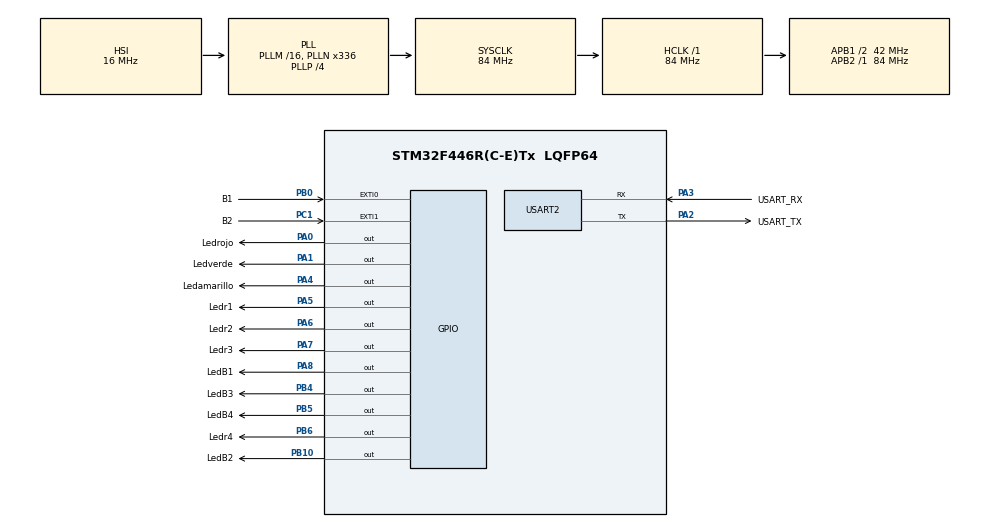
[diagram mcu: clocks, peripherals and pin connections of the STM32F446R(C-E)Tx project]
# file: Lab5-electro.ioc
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Mcu.Family=STM32F4
Mcu.Name=STM32F446R(C-E)Tx
Mcu.Package=LQFP64
NVIC.EXTI0_IRQn=true\:0\:0\:false\:false\:true\:true\:true\:true
NVIC.EXTI1_IRQn=true\:0\:0\:false\:false\:true\:true\:true\:true
NVIC.PriorityGroup=NVIC_PRIORITYGROUP_0
PA0-WKUP.GPIO_Label=Ledrojo
PA0-WKUP.Signal=GPIO_Output
PA1.GPIO_Label=Ledverde
PA1.Signal=GPIO_Output
PA13.GPIO_Label=TMS
PA13.Signal=SYS_JTMS-SWDIO
PA14.GPIO_Label=TCK
PA14.Signal=SYS_JTCK-SWCLK
PA2.GPIO_Label=USART_TX
PA2.Mode=Asynchronous
PA2.Signal=USART2_TX
PA3.GPIO_Label=USART_RX
PA3.Mode=Asynchronous
PA3.Signal=USART2_RX
PA4.GPIO_Label=Ledamarillo 
PA4.Signal=GPIO_Output
PA5.GPIO_Label=Ledr1
PA5.Signal=GPIO_Output
PA6.GPIO_Label=Ledr2
PA6.Signal=GPIO_Output
PA7.GPIO_Label=Ledr3
PA7.Signal=GPIO_Output
PA8.GPIO_Label=LedB1
PA8.Signal=GPIO_Output
PB0.GPIO_Label=B1
PB0.Signal=GPXTI0
PB10.GPIO_Label=LedB2
PB10.Signal=GPIO_Output
PB3.GPIO_Label=SWO
PB3.Signal=SYS_JTDO-SWO
PB4.GPIO_Label=LedB3
PB4.Signal=GPIO_Output
PB5.GPIO_Label=LedB4
PB5.Signal=GPIO_Output
PB6.GPIO_Label=Ledr4
PB6.Signal=GPIO_Output
PC1.GPIO_Label=B2
PC1.Signal=GPXTI1
PC14-OSC32_IN.Signal=RCC_OSC32_IN
PC15-OSC32_OUT.Signal=RCC_OSC32_OUT
PH0-OSC_IN.Signal=RCC_OSC_IN
PH1-OSC_OUT.Signal=RCC_OSC_OUT
ProjectManager.HeapSize=0x200
ProjectManager.StackSize=0x400
ProjectManager.TargetToolchain=STM32CubeIDE
RCC.AHBFreq_Value=84000000
RCC.APB1CLKDivider=RCC_HCLK_DIV2
RCC.APB1Freq_Value=42000000
RCC.APB1TimFreq_Value=84000000
RCC.APB2Freq_Value=84000000
RCC.APB2TimFreq_Value=84000000
RCC.CortexFreq_Value=84000000
RCC.FLatency-AdvancedSettings=FLASH_LATENCY_2
RCC.HCLKFreq_Value=84000000
RCC.HSE_VALUE=8000000
RCC.HSI_VALUE=16000000
RCC.LSE_VALUE=32768
RCC.PLLN=336
RCC.PLLP=RCC_PLLP_DIV4
RCC.SYSCLKFreq_VALUE=84000000
RCC.SYSCLKSource=RCC_SYSCLKSOURCE_PLLCLK
RCC.USBFreq_Value=168000000
RCC.VCOOutputFreq_Value=336000000
USART2.VirtualMode=VM_ASYNC
board=NUCLEO-F446RE

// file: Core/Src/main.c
/* USER CODE BEGIN Header */
//*******************************************************************************//
// Universidad del Valle de Guatemala
// Laboratorio 5 - Electronica Digital 2
//  Juego de carreras
// Camila Tello 24404
//*******************************************************************************//
/* USER CODE END Header */

#include "main.h"

UART_HandleTypeDef huart2;

/* USER CODE BEGIN PV */

//*********************************************************************//
// VARIABLES DE LOS JUGADORES
//*********************************************************************//

// Posicion actual de cada jugador
volatile uint8_t contadorRojo = 0;
volatile uint8_t contadorAzul = 0;

// Guardan el tiempo de la ultima pulsacion para evitar rebotes
uint32_t tiempoBotonRojo = 0;
uint32_t tiempoBotonAzul = 0;

//*********************************************************************//
// VARIABLES PARA CONTROLAR EL JUEGO
//*********************************************************************//

// 0 = juego bloqueado y 1 = juego habilitado
volatile uint8_t juegoIniciado = 0;

// Indica que se debe realizar la secuencia del semaforo
volatile uint8_t iniciarSemaforo = 0;

// Evita iniciar dos secuencias al mismo tiempo
volatile uint8_t semaforoActivo = 0;

//*********************************************************************//
// VARIABLES PARA UART Y GANADOR
//*********************************************************************//

// Guarda el caracter recibido desde la computadora
uint8_t datoUART = 0;

// 0 = sin ganador, 1 = jugador rojo y 2 = jugador azul
volatile uint8_t ganador = 0;

// Indica que falta enviar el mensaje del ganador
volatile uint8_t enviarGanador = 0;

/* USER CODE END PV */

void SystemClock_Config(void);
static void MX_GPIO_Init(void);
static void MX_USART2_UART_Init(void);
/* USER CODE BEGIN PFP */

// Funciones para mostrar la posicion de los jugadores
void mostrarJugadorRojo(uint8_t posicion);
void mostrarJugadorAzul(uint8_t posicion);

// Funcion para realizar la secuencia del semaforo
void secuenciaSemaforo(void);

/* USER CODE END PFP */

int main(void)
{

  /* MCU Configuration--------------------------------------------------------*/

  /* Reset of all peripherals, Initializes the Flash interface and the Systick. */
  HAL_Init();

  /* Configure the system clock */
  SystemClock_Config();

  /* Initialize all configured peripherals */
  MX_GPIO_Init();
  MX_USART2_UART_Init();

  /* USER CODE BEGIN 2 */

  //*********************************************************************//
  // ESTADO INICIAL DEL PROGRAMA
  //*********************************************************************//

  // Apagar los tres LEDs del semaforo antes de comenzar
  HAL_GPIO_WritePin(Ledrojo_GPIO_Port, Ledrojo_Pin, 0);
  HAL_GPIO_WritePin(Ledamarillo_GPIO_Port, Ledamarillo_Pin, 0);
  HAL_GPIO_WritePin(Ledverde_GPIO_Port, Ledverde_Pin, 0);

  // Colocar a los dos jugadores en la posicion inicial
  mostrarJugadorRojo(contadorRojo);
  mostrarJugadorAzul(contadorAzul);

  // El juego permanece bloqueado hasta recibir la letra S
  juegoIniciado = 0;

  // Mensaje para comprobar que la comunicacion funciona
  uint8_t mensajeInicio[] = "\r\nUART lista. Envie S\r\n";

  HAL_UART_Transmit(&huart2,
                    mensajeInicio,
                    sizeof(mensajeInicio) - 1,
                    HAL_MAX_DELAY);

  /* USER CODE END 2 */

  /* Infinite loop */
  while (1)
  {

    /* USER CODE BEGIN 3 */

    //-------------------------------------------------------------------//
    // REVISAR SI SE RECIBIO UN CARACTER POR UART
    //-------------------------------------------------------------------//

    // Se usa un tiempo corto para no detener el funcionamiento del juego
    if (HAL_UART_Receive(&huart2, &datoUART, 1, 10) == HAL_OK)
    {
      // La letra S permite iniciar una carrera nueva
      if ((datoUART == 'S') &&
          (juegoIniciado == 0) &&
          (semaforoActivo == 0) &&
          (enviarGanador == 0))
      {
        // Levantar las banderas para comenzar el semaforo
        semaforoActivo = 1;
        iniciarSemaforo = 1;
      }

      // Limpiar la variable para recibir otro caracter
      datoUART = 0;
    }

    //-------------------------------------------------------------------//
    // ENVIAR EL MENSAJE DEL GANADOR
    //-------------------------------------------------------------------//

    if (enviarGanador == 1)
    {
      if (ganador == 1)
      {
        uint8_t mensajeRojo[] = "El ganador es el jugador rojo!\r\n";

        HAL_UART_Transmit(&huart2,
                          mensajeRojo,
                          sizeof(mensajeRojo) - 1,
                          HAL_MAX_DELAY);
      }
      else if (ganador == 2)
      {
        uint8_t mensajeAzul[] = "El ganador es el jugador azul!\r\n";

        HAL_UART_Transmit(&huart2,
                          mensajeAzul,
                          sizeof(mensajeAzul) - 1,
                          HAL_MAX_DELAY);
      }

      // El mensaje ya fue enviado
      enviarGanador = 0;
    }

    //-------------------------------------------------------------------//
    // INICIAR UNA CARRERA NUEVA
    //-------------------------------------------------------------------//

    if (iniciarSemaforo == 1)
    {
      // Bajar la bandera para ejecutar la secuencia una sola vez
      iniciarSemaforo = 0;

      // Bloquear los botones durante el semaforo
      juegoIniciado = 0;

      // Reiniciar la posicion de los dos jugadores
      contadorRojo = 0;
      contadorAzul = 0;
      ganador = 0;

      mostrarJugadorRojo(contadorRojo);
      mostrarJugadorAzul(contadorAzul);

      // Avisar que la letra S fue recibida
      uint8_t mensajeRecibido[] = "S recibida\r\n";

      HAL_UART_Transmit(&huart2,
                        mensajeRecibido,
                        sizeof(mensajeRecibido) - 1,
                        HAL_MAX_DELAY);

      // Realizar la secuencia rojo, amarillo y verde
      secuenciaSemaforo();

      // Avisar que los jugadores ya pueden comenzar
      uint8_t mensajeListo[] = "Inicia el juego!\r\n";

      HAL_UART_Transmit(&huart2,
                        mensajeListo,
                        sizeof(mensajeListo) - 1,
                        HAL_MAX_DELAY);
    }

  }
  /* USER CODE END 3 */
}

void SystemClock_Config(void)
{
  RCC_OscInitTypeDef RCC_OscInitStruct = {0};
  RCC_ClkInitTypeDef RCC_ClkInitStruct = {0};

  /** Configure the main internal regulator output voltage
  */
  __HAL_RCC_PWR_CLK_ENABLE();
  __HAL_PWR_VOLTAGESCALING_CONFIG(PWR_REGULATOR_VOLTAGE_SCALE3);

  /** Initializes the RCC Oscillators according to the specified parameters
  * in the RCC_OscInitTypeDef structure.
  */
  RCC_OscInitStruct.OscillatorType = RCC_OSCILLATORTYPE_HSI;
  RCC_OscInitStruct.HSIState = RCC_HSI_ON;
  RCC_OscInitStruct.HSICalibrationValue = RCC_HSICALIBRATION_DEFAULT;
  RCC_OscInitStruct.PLL.PLLState = RCC_PLL_ON;
  RCC_OscInitStruct.PLL.PLLSource = RCC_PLLSOURCE_HSI;
  RCC_OscInitStruct.PLL.PLLM = 16;
  RCC_OscInitStruct.PLL.PLLN = 336;
  RCC_OscInitStruct.PLL.PLLP = RCC_PLLP_DIV4;
  RCC_OscInitStruct.PLL.PLLQ = 2;
  RCC_OscInitStruct.PLL.PLLR = 2;
  if (HAL_RCC_OscConfig(&RCC_OscInitStruct) != HAL_OK)
  {
    Error_Handler();
  }

  /** Initializes the CPU, AHB and APB buses clocks
  */
  RCC_ClkInitStruct.ClockType = RCC_CLOCKTYPE_HCLK|RCC_CLOCKTYPE_SYSCLK
                              |RCC_CLOCKTYPE_PCLK1|RCC_CLOCKTYPE_PCLK2;
  RCC_ClkInitStruct.SYSCLKSource = RCC_SYSCLKSOURCE_PLLCLK;
  RCC_ClkInitStruct.AHBCLKDivider = RCC_SYSCLK_DIV1;
  RCC_ClkInitStruct.APB1CLKDivider = RCC_HCLK_DIV2;
  RCC_ClkInitStruct.APB2CLKDivider = RCC_HCLK_DIV1;

  if (HAL_RCC_ClockConfig(&RCC_ClkInitStruct, FLASH_LATENCY_2) != HAL_OK)
  {
    Error_Handler();
  }
}

static void MX_USART2_UART_Init(void)
{

  huart2.Instance = USART2;
  huart2.Init.BaudRate = 115200;
  huart2.Init.WordLength = UART_WORDLENGTH_8B;
  huart2.Init.StopBits = UART_STOPBITS_1;
  huart2.Init.Parity = UART_PARITY_NONE;
  huart2.Init.Mode = UART_MODE_TX_RX;
  huart2.Init.HwFlowCtl = UART_HWCONTROL_NONE;
  huart2.Init.OverSampling = UART_OVERSAMPLING_16;
  if (HAL_UART_Init(&huart2) != HAL_OK)
  {
    Error_Handler();
  }

}

static void MX_GPIO_Init(void)
{
  GPIO_InitTypeDef GPIO_InitStruct = {0};

  /* GPIO Ports Clock Enable */
  __HAL_RCC_GPIOC_CLK_ENABLE();
  __HAL_RCC_GPIOH_CLK_ENABLE();
  __HAL_RCC_GPIOA_CLK_ENABLE();
  __HAL_RCC_GPIOB_CLK_ENABLE();

  /*Configure GPIO pin Output Level */
  HAL_GPIO_WritePin(GPIOA, Ledrojo_Pin|Ledverde_Pin|Ledamarillo_Pin|Ledr1_Pin
                          |Ledr2_Pin|Ledr3_Pin|LedB1_Pin, GPIO_PIN_RESET);

  /*Configure GPIO pin Output Level */
  HAL_GPIO_WritePin(GPIOB, LedB2_Pin|LedB3_Pin|LedB4_Pin|Ledr4_Pin, GPIO_PIN_RESET);

  /*Configure GPIO pin : B2_Pin */
  GPIO_InitStruct.Pin = B2_Pin;
  GPIO_InitStruct.Mode = GPIO_MODE_IT_RISING;
  GPIO_InitStruct.Pull = GPIO_NOPULL;
  HAL_GPIO_Init(B2_GPIO_Port, &GPIO_InitStruct);

  /*Configure GPIO pins : Ledrojo_Pin Ledverde_Pin Ledamarillo_Pin Ledr1_Pin
                           Ledr2_Pin Ledr3_Pin LedB1_Pin */
  GPIO_InitStruct.Pin = Ledrojo_Pin|Ledverde_Pin|Ledamarillo_Pin|Ledr1_Pin
                          |Ledr2_Pin|Ledr3_Pin|LedB1_Pin;
  GPIO_InitStruct.Mode = GPIO_MODE_OUTPUT_PP;
  GPIO_InitStruct.Pull = GPIO_NOPULL;
  GPIO_InitStruct.Speed = GPIO_SPEED_FREQ_LOW;
  HAL_GPIO_Init(GPIOA, &GPIO_InitStruct);

  /*Configure GPIO pin : B1_Pin */
  GPIO_InitStruct.Pin = B1_Pin;
  GPIO_InitStruct.Mode = GPIO_MODE_IT_RISING;
  GPIO_InitStruct.Pull = GPIO_NOPULL;
  HAL_GPIO_Init(B1_GPIO_Port, &GPIO_InitStruct);

  /*Configure GPIO pins : LedB2_Pin LedB3_Pin LedB4_Pin Ledr4_Pin */
  GPIO_InitStruct.Pin = LedB2_Pin|LedB3_Pin|LedB4_Pin|Ledr4_Pin;
  GPIO_InitStruct.Mode = GPIO_MODE_OUTPUT_PP;
  GPIO_InitStruct.Pull = GPIO_NOPULL;
  GPIO_InitStruct.Speed = GPIO_SPEED_FREQ_LOW;
  HAL_GPIO_Init(GPIOB, &GPIO_InitStruct);

  /* EXTI interrupt init*/
  HAL_NVIC_SetPriority(EXTI0_IRQn, 0, 0);
  HAL_NVIC_EnableIRQ(EXTI0_IRQn);

  HAL_NVIC_SetPriority(EXTI1_IRQn, 0, 0);
  HAL_NVIC_EnableIRQ(EXTI1_IRQn);

}

/* USER CODE BEGIN 4 */

//*********************************************************************//
// FUNCION PARA MOSTRAR AL JUGADOR ROJO
//*********************************************************************//

void mostrarJugadorRojo(uint8_t posicion)
{
  // Apagar primero los cuatro LEDs del jugador rojo
  HAL_GPIO_WritePin(Ledr1_GPIO_Port, Ledr1_Pin, 0);
  HAL_GPIO_WritePin(Ledr2_GPIO_Port, Ledr2_Pin, 0);
  HAL_GPIO_WritePin(Ledr3_GPIO_Port, Ledr3_Pin, 0);
  HAL_GPIO_WritePin(Ledr4_GPIO_Port, Ledr4_Pin, 0);

  // Encender solamente el LED de la posicion actual
  switch (posicion)
  {
    case 1:
      HAL_GPIO_WritePin(Ledr1_GPIO_Port, Ledr1_Pin, 1);
      break;

    case 2:
      HAL_GPIO_WritePin(Ledr2_GPIO_Port, Ledr2_Pin, 1);
      break;

    case 3:
      HAL_GPIO_WritePin(Ledr3_GPIO_Port, Ledr3_Pin, 1);
      break;

    case 4:
      HAL_GPIO_WritePin(Ledr4_GPIO_Port, Ledr4_Pin, 1);
      break;

    default:
      // En la posicion 0 todos permanecen apagados
      break;
  }
}

//*********************************************************************//
// FUNCION PARA MOSTRAR AL JUGADOR AZUL
//*********************************************************************//

void mostrarJugadorAzul(uint8_t posicion)
{
  // Apagar primero los cuatro LEDs del jugador azul
  HAL_GPIO_WritePin(LedB1_GPIO_Port, LedB1_Pin, 0);
  HAL_GPIO_WritePin(LedB2_GPIO_Port, LedB2_Pin, 0);
  HAL_GPIO_WritePin(LedB3_GPIO_Port, LedB3_Pin, 0);
  HAL_GPIO_WritePin(LedB4_GPIO_Port, LedB4_Pin, 0);

  // Encender solamente el LED de la posicion actual
  switch (posicion)
  {
    case 1:
      HAL_GPIO_WritePin(LedB1_GPIO_Port, LedB1_Pin, 1);
      break;

    case 2:
      HAL_GPIO_WritePin(LedB2_GPIO_Port, LedB2_Pin, 1);
      break;

    case 3:
      HAL_GPIO_WritePin(LedB3_GPIO_Port, LedB3_Pin, 1);
      break;

    case 4:
      HAL_GPIO_WritePin(LedB4_GPIO_Port, LedB4_Pin, 1);
      break;

    default:
      // En la posicion 0 todos permanecen apagados
      break;
  }
}

//*********************************************************************//
// FUNCION PARA REALIZAR LA SECUENCIA DEL SEMAFORO
//*********************************************************************//

void secuenciaSemaforo(void)
{
  // Mantener bloqueado el juego durante toda la secuencia
  juegoIniciado = 0;

  //-------------------------------------------------------------------//
  // Encender el LED rojo durante un segundo
  //-------------------------------------------------------------------//
  HAL_GPIO_WritePin(Ledrojo_GPIO_Port, Ledrojo_Pin, 1);
  HAL_Delay(1000);
  HAL_GPIO_WritePin(Ledrojo_GPIO_Port, Ledrojo_Pin, 0);

  //-------------------------------------------------------------------//
  // Encender el LED amarillo durante un segundo
  //-------------------------------------------------------------------//
  HAL_GPIO_WritePin(Ledamarillo_GPIO_Port, Ledamarillo_Pin, 1);
  HAL_Delay(1000);
  HAL_GPIO_WritePin(Ledamarillo_GPIO_Port, Ledamarillo_Pin, 0);

  //-------------------------------------------------------------------//
  // Encender el LED verde durante un segundo
  //-------------------------------------------------------------------//
  HAL_GPIO_WritePin(Ledverde_GPIO_Port, Ledverde_Pin, 1);
  HAL_Delay(1000);
  HAL_GPIO_WritePin(Ledverde_GPIO_Port, Ledverde_Pin, 0);

  // La secuencia terminó y el juego puede comenzar
  juegoIniciado = 1;

  // Permitir que se pueda recibir otra S al terminar una carrera
  semaforoActivo = 0;
}

//*********************************************************************//
// INTERRUPCIONES DE LOS BOTONES
//*********************************************************************//

void HAL_GPIO_EXTI_Callback(uint16_t GPIO_Pin)
{
  //-------------------------------------------------------------------//
  // BOTON DEL JUGADOR ROJO
  //-------------------------------------------------------------------//

  if (GPIO_Pin == B1_Pin)
  {
    // El boton funciona solamente cuando la carrera esta activa
    if (juegoIniciado == 1)
    {
      // Aceptar una pulsacion cada 200 milisegundos
      if ((HAL_GetTick() - tiempoBotonRojo) >= 200)
      {
        tiempoBotonRojo = HAL_GetTick();

        // Avanzar hasta la posicion final
        if (contadorRojo < 4)
        {
          contadorRojo++;
        }

        mostrarJugadorRojo(contadorRojo);

        // Al llegar a 4, el jugador rojo gana
        if (contadorRojo == 4)
        {
          ganador = 1;
          enviarGanador = 1;

          // Bloquear inmediatamente los dos botones
          juegoIniciado = 0;
        }
      }
    }
  }

  //-------------------------------------------------------------------//
  // BOTON DEL JUGADOR AZUL
  //-------------------------------------------------------------------//

  if (GPIO_Pin == B2_Pin)
  {
    // El boton funciona solamente cuando la carrera esta activa
    if (juegoIniciado == 1)
    {
      // Cada jugador tiene su propio tiempo de anti-rebote
      if ((HAL_GetTick() - tiempoBotonAzul) >= 200)
      {
        tiempoBotonAzul = HAL_GetTick();

        // Avanzar hasta la posicion final
        if (contadorAzul < 4)
        {
          contadorAzul++;
        }

        mostrarJugadorAzul(contadorAzul);

        // Al llegar a 4, el jugador azul gana
        if (contadorAzul == 4)
        {
          ganador = 2;
          enviarGanador = 1;

          // Bloquear inmediatamente los dos botones
          juegoIniciado = 0;
        }
      }
    }
  }
}

/* USER CODE END 4 */

void Error_Handler(void)
{
  __disable_irq();
  while (1)
  {
  }
}
